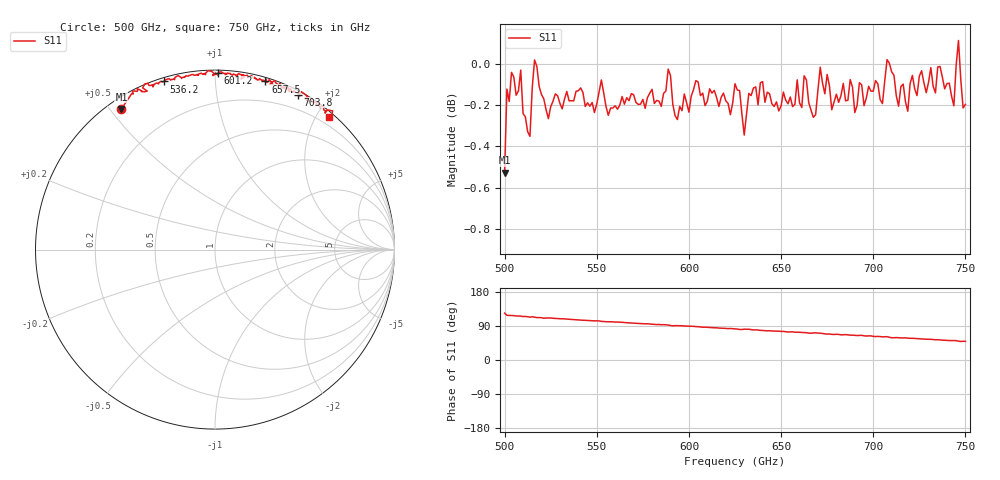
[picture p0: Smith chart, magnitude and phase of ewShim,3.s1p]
!Created with mwavepy.
# GHz S RI R 50.0
!freq	ReS11	ImS11
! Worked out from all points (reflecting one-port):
!   201 points, 500 GHz to 750 GHz, reference 50 ohm
!   lowest |S11| = -0.5 dB at 500 GHz (marker M1), VSWR 32.95, Z = 1.95 + j26.8 ohm
!   phase of S11 starts at 124 deg and turns -74 deg over the sweep
!   S11 on the Smith chart (normalised r, x): 500 GHz: 0.04, +0.54; 536.2 GHz: 0.02, +0.74; 601.2 GHz: 0.02, +1.02; 657.5 GHz: 0.03, +1.34; 703.8 GHz: 0.04, +1.67; 750 GHz: 0.06, +2.18
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500  -0.5213 0.7835
! Port Impedance 50.00000000000000 0.00000000000000
501.25  -0.4628 0.8708
503.75  -0.459 0.8833
513.75  -0.3773 0.8832
515  -0.4031 0.9009
517.5  -0.3726 0.9266
531.25  -0.3149 0.923
536.25  -0.2869 0.9368
562.5  -0.1642 0.9634
588.75  -0.0392 0.9965
591.25  -0.00166 0.9779
593.75  -0.0106 0.9694
601.25  0.0162 0.9821
625  0.1302 0.9805
627.5  0.1606 0.9721
630  0.1448 0.9501
636.25  0.1784 0.9711
656.25  0.263 0.9404
657.5  0.2806 0.9367
668.75  0.3072 0.9223
687.5  0.4093 0.9029
703.75  0.4631 0.8641
707.5  0.4784 0.881
710  0.5188 0.8498
718.75  0.5187 0.8243
743.75  0.6135 0.7603
746.25  0.6555 0.7727
750  0.6377 0.7411
